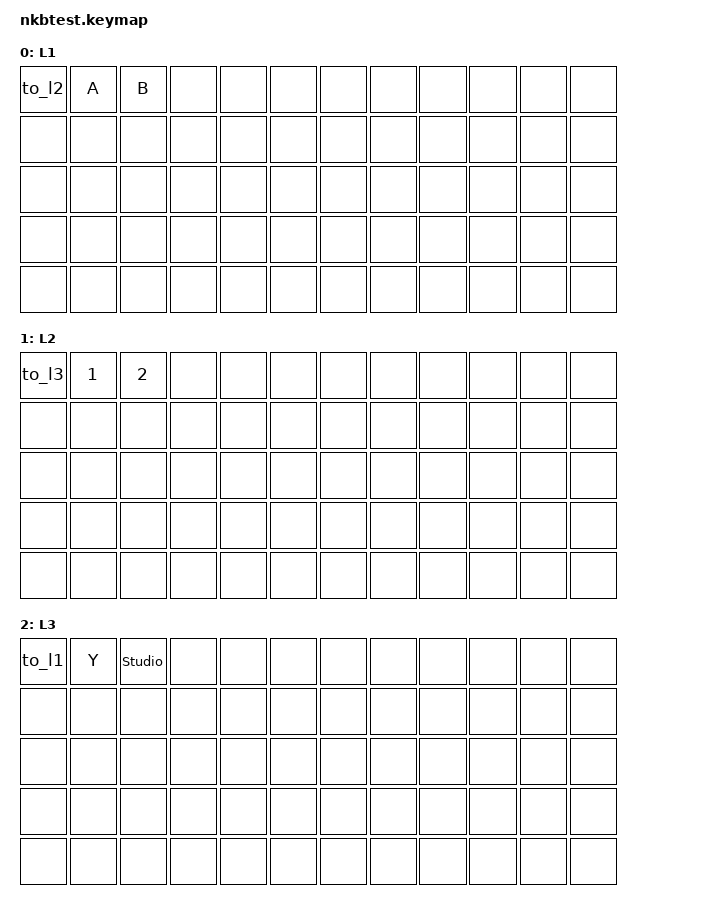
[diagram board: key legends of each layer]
/* 3 layers on the 3 wired keys (R1xC1/C2/C3 = positions 0,1,2).
   Key0 = rotate to next layer AND set that layer's LED color.
   L1(idx0)=RED  L2(idx1)=GREEN  L3(idx2)=BLUE  (solid underglow).
     L1: [rotate->L2]  A  B
     L2: [rotate->L3]  1  2
     L3: [rotate->L1]  Y  studio_unlock
   Rotate uses &to (switch base layer). RGB set via macro on the rotate key. */
#include <behaviors.dtsi>
#include <dt-bindings/zmk/keys.h>
#include <dt-bindings/zmk/rgb.h>

/ {
    macros {
        to_l2: to_l2 {                     /* -> layer1 (L2), green */
            compatible = "zmk,behavior-macro"; #binding-cells = <0>;
            wait-ms = <0>; tap-ms = <0>;
            bindings = <&rgb_ug RGB_COLOR_HSB(120,100,100)>, <&to 1>;
        };
        to_l3: to_l3 {                     /* -> layer2 (L3), blue */
            compatible = "zmk,behavior-macro"; #binding-cells = <0>;
            wait-ms = <0>; tap-ms = <0>;
            bindings = <&rgb_ug RGB_COLOR_HSB(240,100,100)>, <&to 2>;
        };
        to_l1: to_l1 {                     /* -> layer0 (L1), red */
            compatible = "zmk,behavior-macro"; #binding-cells = <0>;
            wait-ms = <0>; tap-ms = <0>;
            bindings = <&rgb_ug RGB_COLOR_HSB(0,100,100)>, <&to 0>;
        };
    };

    keymap {
        compatible = "zmk,keymap";

        l1_layer {
            display-name = "L1";
            bindings = <
   &to_l2 &kp A &kp B  &none &none &none   &none &none &none &none &none &none
   &none  &none &none  &none &none &none   &none &none &none &none &none &none
   &none  &none &none  &none &none &none   &none &none &none &none &none &none
   &none  &none &none  &none &none &none   &none &none &none &none &none &none
   &none  &none &none  &none &none &none   &none &none &none &none &none &none
            >;
        };

        l2_layer {
            display-name = "L2";
            bindings = <
   &to_l3 &kp N1 &kp N2  &none &none &none   &none &none &none &none &none &none
   &none  &none  &none   &none &none &none   &none &none &none &none &none &none
   &none  &none  &none   &none &none &none   &none &none &none &none &none &none
   &none  &none  &none   &none &none &none   &none &none &none &none &none &none
   &none  &none  &none   &none &none &none   &none &none &none &none &none &none
            >;
        };

        l3_layer {
            display-name = "L3";
            bindings = <
   &to_l1 &kp Y &studio_unlock  &none &none &none   &none &none &none &none &none &none
   &none  &none &none            &none &none &none   &none &none &none &none &none &none
   &none  &none &none            &none &none &none   &none &none &none &none &none &none
   &none  &none &none            &none &none &none   &none &none &none &none &none &none
   &none  &none &none            &none &none &none   &none &none &none &none &none &none
            >;
        };
    };
};
